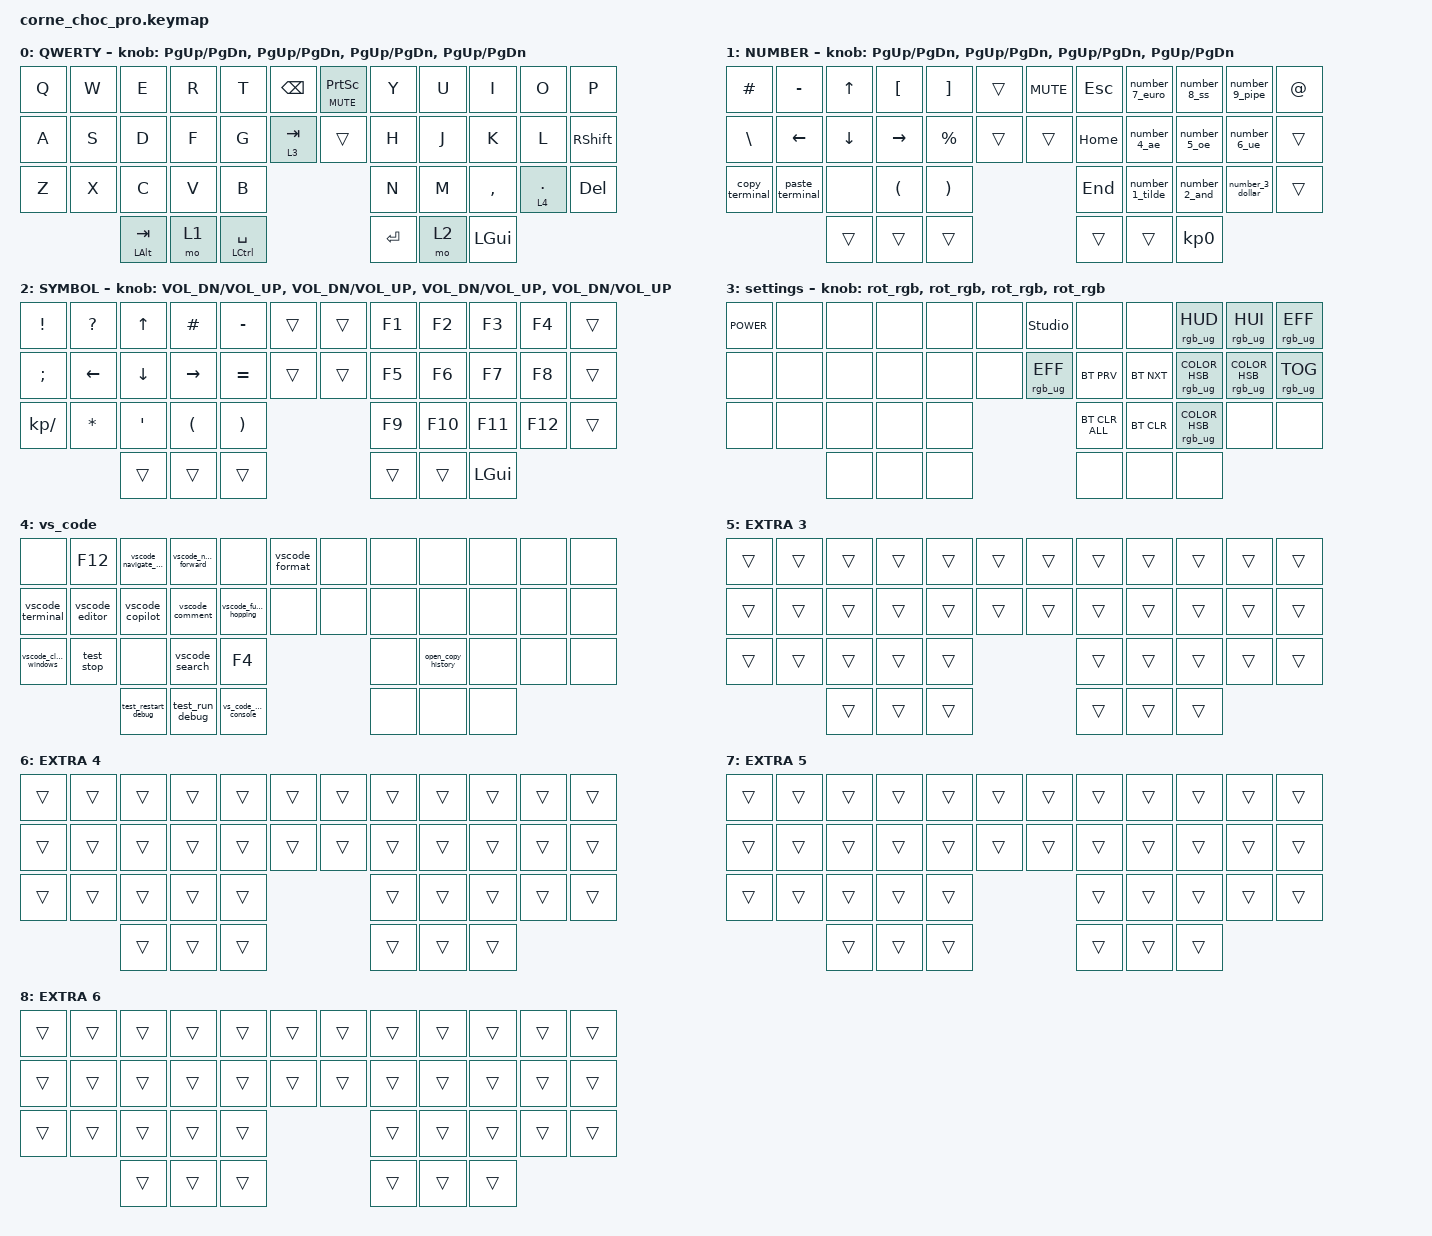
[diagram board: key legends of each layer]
/*
 * Copyright (c) 2020 The ZMK Contributors
 *
 * SPDX-License-Identifier: MIT
 */

#include <behaviors.dtsi>
#include <dt-bindings/zmk/bt.h>
#include <dt-bindings/zmk/keys.h>
#include <dt-bindings/zmk/rgb.h>

/ {
    chosen { zmk,physical-layout = &five_col_layout; };
};

/ {
    behaviors {
        number_1_tilde: number_1_tilde {
            compatible = "zmk,behavior-mod-morph";
            label = "NUMBER_1_TILDE";
            bindings = <&kp KP_NUMBER_1>, <&kp TILDE>;

            #binding-cells = <0>;
            mods = <(MOD_LALT)>;
        };

        number_2_and: number_2_and {
            compatible = "zmk,behavior-mod-morph";
            label = "NUMBER_2_AND";
            bindings = <&kp KP_NUMBER_2>, <&kp AMPS>;

            #binding-cells = <0>;
            mods = <(MOD_LALT)>;
        };

        number_3_dollar: number_3_dollar {
            compatible = "zmk,behavior-mod-morph";
            label = "NUMBER_3_DOLLAR";
            bindings = <&kp KP_NUMBER_3>, <&kp DOLLAR>;

            #binding-cells = <0>;
            mods = <(MOD_LALT)>;
        };

        number_5_oe: number_5_oe {
            compatible = "zmk,behavior-mod-morph";
            label = "NUMBER_5_OE";
            bindings = <&kp KP_NUMBER_5>, <&oe>;

            #binding-cells = <0>;
            mods = <(MOD_LALT)>;
        };

        number_4_ae: number_4_ae {
            compatible = "zmk,behavior-mod-morph";
            label = "NUMBER_4_AE";
            bindings = <&kp KP_NUMBER_4>, <&ae>;

            #binding-cells = <0>;
            mods = <(MOD_LALT)>;
        };

        number_6_ue: number_6_ue {
            compatible = "zmk,behavior-mod-morph";
            label = "NUMBER_6_UE";
            bindings = <&kp KP_NUMBER_6>, <&ue>;

            #binding-cells = <0>;
            mods = <(MOD_LALT)>;
        };

        number_7_euro: number_7_euro {
            compatible = "zmk,behavior-mod-morph";
            label = "NUMBER_7_EURO";
            bindings = <&kp KP_NUMBER_7>, <&euro_sign>;

            #binding-cells = <0>;
            mods = <(MOD_LALT)>;
        };

        number_8_ss: number_8_ss {
            compatible = "zmk,behavior-mod-morph";
            label = "NUMBER_8_SS";
            bindings = <&kp KP_NUMBER_8>, <&ss>;

            #binding-cells = <0>;
            mods = <(MOD_LALT)>;
        };

        number_9_pipe: number_9_pipe {
            compatible = "zmk,behavior-mod-morph";
            label = "NUMBER_9_PIPE";
            bindings = <&kp KP_NUMBER_9>, <&kp PIPE>;

            #binding-cells = <0>;
            mods = <(MOD_LALT)>;
        };

        rot_rgb: rot_rgb {
            compatible = "zmk,behavior-sensor-rotate";
            label = "ROT_RGB";
            #sensor-binding-cells = <0>;
            bindings = <&rgb_ug RGB_BRI>, <&rgb_ug RGB_BRD>;
        };
    };

    macros {
        ue: ue {
            compatible = "zmk,behavior-macro";
            #binding-cells = <0>;
            bindings =
                <&macro_press>,
                <&kp RIGHT_ALT>,
                <&macro_tap>,
                <&kp Y>,
                <&macro_release>,
                <&kp RIGHT_ALT>;

            label = "UE";
        };

        oe: oe {
            compatible = "zmk,behavior-macro";
            #binding-cells = <0>;
            bindings =
                <&macro_press>,
                <&kp RIGHT_ALT>,
                <&macro_tap>,
                <&kp P>,
                <&macro_release>,
                <&kp RIGHT_ALT>;

            label = "OE";
        };

        ae: ae {
            compatible = "zmk,behavior-macro";
            #binding-cells = <0>;
            bindings =
                <&macro_press>,
                <&kp RIGHT_ALT>,
                <&macro_tap>,
                <&kp Q>,
                <&macro_release>,
                <&kp RIGHT_ALT>;

            label = "AE";
        };

        ss: ss {
            compatible = "zmk,behavior-macro";
            #binding-cells = <0>;
            bindings =
                <&macro_press>,
                <&kp RIGHT_ALT>,
                <&macro_tap>,
                <&kp S>,
                <&macro_release>,
                <&kp RIGHT_ALT>;

            label = "SS";
        };

        euro_sign: euro_sign {
            compatible = "zmk,behavior-macro";
            #binding-cells = <0>;
            bindings =
                <&macro_press>,
                <&kp RIGHT_ALT>,
                <&macro_tap>,
                <&kp N5>,
                <&macro_release>,
                <&kp RIGHT_ALT>;

            label = "EURO_SIGN";
        };

        vscode_terminal: vscode_terminal {
            compatible = "zmk,behavior-macro";
            #binding-cells = <0>;
            bindings =
                <&macro_press>,
                <&kp LEFT_CONTROL>,
                <&macro_tap>,
                <&kp GRAVE>,
                <&macro_release>,
                <&kp LEFT_CONTROL>;

            label = "VSCODE_TERMINAL";
        };

        vscode_navigate_back: vscode_navigate_back {
            compatible = "zmk,behavior-macro";
            #binding-cells = <0>;
            bindings =
                <&macro_press>,
                <&kp LEFT_CONTROL &kp LEFT_ALT>,
                <&macro_tap>,
                <&kp MINUS>,
                <&macro_release>,
                <&kp LEFT_CONTROL &kp LEFT_ALT>;

            label = "VSCODE_NAVIGATE_BACK";
        };

        vscode_comment: vscode_comment {
            compatible = "zmk,behavior-macro";
            #binding-cells = <0>;
            bindings =
                <&macro_press>,
                <&kp LEFT_CONTROL>,
                <&macro_tap>,
                <&kp SLASH>,
                <&macro_release>,
                <&kp LEFT_CONTROL>;

            label = "VSCODE_COMMENT";
        };

        vscode_editor: vscode_editor {
            compatible = "zmk,behavior-macro";
            #binding-cells = <0>;
            bindings =
                <&macro_press>,
                <&kp LEFT_CONTROL>,
                <&macro_tap>,
                <&kp NUMBER_1>,
                <&macro_release>,
                <&kp LEFT_CONTROL>;

            label = "VSCODE_EDITOR";
        };

        vscode_copilot: vscode_copilot {
            compatible = "zmk,behavior-macro";
            #binding-cells = <0>;
            bindings =
                <&macro_press>,
                <&kp LEFT_CONTROL &kp LEFT_ALT>,
                <&macro_tap>,
                <&kp I>,
                <&macro_release>,
                <&kp LEFT_CONTROL &kp LEFT_ALT>;

            label = "VSCODE_COPILOT";
        };

        vscode_function_hopping: vscode_function_hopping {
            compatible = "zmk,behavior-macro";
            #binding-cells = <0>;
            bindings =
                <&macro_press>,
                <&kp LEFT_CONTROL &kp LEFT_SHIFT>,
                <&macro_tap>,
                <&kp DOT>,
                <&macro_release>,
                <&kp LEFT_CONTROL &kp LEFT_SHIFT>;

            label = "VSCODE_FUNCTION_HOPPING";
        };

        vscode_search: vscode_search {
            compatible = "zmk,behavior-macro";
            #binding-cells = <0>;
            bindings =
                <&macro_press>,
                <&kp LEFT_CONTROL &kp LEFT_SHIFT>,
                <&macro_tap>,
                <&kp F>,
                <&macro_release>,
                <&kp LEFT_CONTROL &kp LEFT_SHIFT>;

            label = "VSCODE_SEARCH";
        };

        vscode_navigate_forward: vscode_navigate_forward {
            compatible = "zmk,behavior-macro";
            #binding-cells = <0>;
            bindings =
                <&macro_press>,
                <&kp LEFT_CONTROL &kp LEFT_SHIFT>,
                <&macro_tap>,
                <&kp MINUS>,
                <&macro_release>,
                <&kp LEFT_CONTROL &kp LEFT_SHIFT>;

            label = "VSCODE_NAVIGATE_FORWARD";
        };

        vscode_format: vscode_format {
            compatible = "zmk,behavior-macro";
            #binding-cells = <0>;
            bindings =
                <&macro_press>,
                <&kp LEFT_SHIFT &kp LEFT_ALT>,
                <&macro_tap>,
                <&kp F>,
                <&macro_release>,
                <&kp LEFT_SHIFT &kp LEFT_ALT>;

            label = "VSCODE_FORMAT";
        };

        vscode_close_windows: vscode_close_windows {
            compatible = "zmk,behavior-macro";
            #binding-cells = <0>;
            bindings =
                <&macro_press>,
                <&kp LEFT_CONTROL>,
                <&macro_tap>,
                <&kp K>,
                <&macro_release>,
                <&kp LEFT_CONTROL>,
                <&macro_press>,
                <&kp LEFT_CONTROL>,
                <&macro_tap>,
                <&kp W>,
                <&macro_release>,
                <&kp LEFT_CONTROL>;

            label = "VSCODE_CLOSE_WINDOWS";
        };

        copy_terminal: copy_terminal {
            compatible = "zmk,behavior-macro";
            #binding-cells = <0>;
            bindings =
                <&macro_press>,
                <&kp LEFT_CONTROL &kp RIGHT_SHIFT>,
                <&macro_tap>,
                <&kp C>,
                <&macro_release>,
                <&kp LEFT_CONTROL &kp RIGHT_SHIFT>;

            label = "COPY_TERMINAL";
        };

        paste_terminal: paste_terminal {
            compatible = "zmk,behavior-macro";
            #binding-cells = <0>;
            bindings =
                <&macro_press>,
                <&kp LEFT_CONTROL &kp RIGHT_SHIFT>,
                <&macro_tap>,
                <&kp V>,
                <&macro_release>,
                <&kp LEFT_CONTROL &kp RIGHT_SHIFT>;

            label = "PASTE_TERMINAL";
        };

        open_copy_history: open_copy_history {
            compatible = "zmk,behavior-macro";
            #binding-cells = <0>;
            bindings =
                <&macro_press>,
                <&kp LEFT_CONTROL &kp LEFT_GUI>,
                <&macro_tap>,
                <&kp Y>,
                <&macro_release>,
                <&kp LEFT_CONTROL &kp LEFT_GUI>;

            label = "OPEN_COPY_HISTORY";
        };

        test_run_debug: test_run_debug {
            compatible = "zmk,behavior-macro";
            #binding-cells = <0>;
            bindings =
                <&macro_press>,
                <&kp LEFT_CONTROL>,
                <&macro_tap>,
                <&kp SEMICOLON>,
                <&macro_release>,
                <&kp LEFT_CONTROL>,
                <&macro_press>,
                <&kp LEFT_CONTROL>,
                <&macro_tap>,
                <&kp C>,
                <&macro_release>,
                <&kp LEFT_CONTROL>;

            label = "TEST_RUN_DEBUG";
        };

        test_restart_debug: test_restart_debug {
            compatible = "zmk,behavior-macro";
            #binding-cells = <0>;
            bindings =
                <&macro_press>,
                <&kp LEFT_CONTROL &kp LEFT_SHIFT>,
                <&macro_tap>,
                <&kp F5>,
                <&macro_release>,
                <&kp LEFT_CONTROL &kp LEFT_SHIFT>;

            label = "TEST_RESTART_DEBUG";
        };

        test_stop: test_stop {
            compatible = "zmk,behavior-macro";
            #binding-cells = <0>;
            bindings =
                <&macro_press>,
                <&kp LEFT_SHIFT>,
                <&macro_tap>,
                <&kp F5>,
                <&macro_release>,
                <&kp LEFT_SHIFT>;

            label = "TEST_STOP";
        };

        vs_code_debug_console: vs_code_debug_console {
            compatible = "zmk,behavior-macro";
            #binding-cells = <0>;
            bindings =
                <&macro_press>,
                <&kp LEFT_CONTROL &kp LEFT_SHIFT>,
                <&macro_tap>,
                <&kp Y>,
                <&macro_release>,
                <&kp LEFT_CONTROL &kp LEFT_SHIFT>;

            label = "VS_CODE_DEBUG_CONSOLE";
        };
    };

    keymap {
        compatible = "zmk,keymap";

        default_layer {
            display-name = "QWERTY";

            // ------------------------------------------------------------------------------
            // |  Q  |  W  |  E  |  R  |  T  |  MUTE |  PP   |  Y  |  U   |  I  |  O  |  P  |
            // |  A  |  S  |  D  |  F  |  G  |  LALT |  RALT |  H  |  J   |  K  |  L  |  ;  |
            // |  Z  |  X  |  C  |  V  |  B  |               |  N  |  M   |  ,  |  .  |  /  |
            //                    | GUI | LWR | SPC |               | ENT | RSE  | ALT |

            bindings = <
  &kp Q  &kp W  &kp E             &kp R  &kp T                   &kp BACKSPACE  &mt K_MUTE PRINTSCREEN  &kp Y      &kp U  &kp I         &kp O      &kp P
  &kp A  &kp S  &kp D             &kp F  &kp G                   &lt 3 TAB      &trans                  &kp H      &kp J  &kp K         &kp L      &kp RIGHT_SHIFT
  &kp Z  &kp X  &kp C             &kp V  &kp B                                                          &kp N      &kp M  &kp COMMA     &lt 4 DOT  &kp DELETE
                &mt LEFT_ALT TAB  &mo 1  &mt LEFT_CONTROL SPACE                                         &kp ENTER  &mo 2  &kp LEFT_GUI
            >;

            sensor-bindings = <&inc_dec_kp PG_UP PG_DN &inc_dec_kp PG_UP PG_DN &inc_dec_kp PG_UP PG_DN &inc_dec_kp PG_UP PG_DN>;
        };

        lower_layer {
            display-name = "NUMBER";

            // --------------------------------------------------------------------------------
            // |  1  |  2  |  3  |  4  |  5    |  LCTRL | RCTRL |  6  |  7  |  8  |  9  |  0  |
            // | BT1 | BT2 | BT3 | BT4 | BT5   |  LALT  | RALT  | LFT | DWN |  UP | RGT |     |
            // | BTCR| RGB | RST | BOOT| Unlock|        |       |     |     |     |     |     |
            //                    | GUI |     | SPC   |        | ENT   |     | ALT |

            bindings = <
  &kp HASH        &kp MINUS        &kp UP_ARROW    &kp LEFT_BRACKET      &kp RIGHT_BRACKET      &trans  &kp K_MUTE  &kp ESCAPE  &number_7_euro   &number_8_ss     &number_9_pipe    &kp AT
  &kp BACKSLASH   &kp LEFT         &kp DOWN_ARROW  &kp RIGHT             &kp PERCENT            &trans  &trans      &kp HOME    &number_4_ae     &number_5_oe     &number_6_ue      &trans
  &copy_terminal  &paste_terminal  &none           &kp LEFT_PARENTHESIS  &kp RIGHT_PARENTHESIS                      &kp END     &number_1_tilde  &number_2_and    &number_3_dollar  &trans
                                   &trans          &trans                &trans                                     &trans      &trans           &kp KP_NUMBER_0
            >;

            sensor-bindings = <&inc_dec_kp PG_UP PG_DN &inc_dec_kp PG_UP PG_DN &inc_dec_kp PG_UP PG_DN &inc_dec_kp PG_UP PG_DN>;
        };

        raise_layer {
            display-name = "SYMBOL";

            // -----------------------------------------------------------------------------
            // |  !  |  @  |  #  |  $  |  %  | LCTRL | RCTRL |  ^  |  &  |  *  |  (  |  )  |
            // |     |     |     |     |     |  LALT | RALT  |  -  |  =  |  [  |  ]  |  \  |
            // |     |     |     |     |     |               |  _  |  +  |  {  |  }  | "|" |
            //                    | GUI |     | SPC |               | ENT |     | ALT |

            bindings = <
  &kp EXCLAMATION  &kp QUESTION    &kp UP_ARROW      &kp POUND             &kp MINUS              &trans  &trans  &kp F1  &kp F2   &kp F3        &kp F4   &trans
  &kp SEMICOLON    &kp LEFT_ARROW  &kp DOWN          &kp RIGHT             &kp EQUAL              &trans  &trans  &kp F5  &kp F6   &kp F7        &kp F8   &trans
  &kp KP_DIVIDE    &kp ASTRK       &kp SINGLE_QUOTE  &kp LEFT_PARENTHESIS  &kp RIGHT_PARENTHESIS                  &kp F9  &kp F10  &kp F11       &kp F12  &trans
                                   &trans            &trans                &trans                                 &trans  &trans   &kp LEFT_GUI
            >;

            sensor-bindings = <&inc_dec_kp C_VOL_DN C_VOL_UP &inc_dec_kp C_VOL_DN C_VOL_UP &inc_dec_kp C_VOL_DN C_VOL_UP &inc_dec_kp C_VOL_DN C_VOL_UP>;
        };

        settings {
            display-name = "settings";
            bindings = <
  &kp C_POWER  &none  &none  &none  &none  &none  &studio_unlock   &none           &none       &rgb_ug RGB_HUD                    &rgb_ug RGB_HUI                  &rgb_ug RGB_EFF
  &none        &none  &none  &none  &none  &none  &rgb_ug RGB_EFF  &bt BT_PRV      &bt BT_NXT  &rgb_ug RGB_COLOR_HSB(57,90,62)    &rgb_ug RGB_COLOR_HSB(0,100,51)  &rgb_ug RGB_TOG
  &none        &none  &none  &none  &none                          &bt BT_CLR_ALL  &bt BT_CLR  &rgb_ug RGB_COLOR_HSB(269,100,46)  &none                            &none
                      &none  &none  &none                          &none           &none       &none
            >;

            sensor-bindings = <&rot_rgb &rot_rgb &rot_rgb &rot_rgb>;
        };

        vs_code {
            display-name = "vs_code";
            bindings = <
  &none                  &kp F12         &vscode_navigate_back  &vscode_navigate_forward  &none                     &vscode_format  &none  &none  &none               &none  &none  &none
  &vscode_terminal       &vscode_editor  &vscode_copilot        &vscode_comment           &vscode_function_hopping  &none           &none  &none  &none               &none  &none  &none
  &vscode_close_windows  &test_stop      &none                  &vscode_search            &kp F4                                           &none  &open_copy_history  &none  &none  &none
                                         &test_restart_debug    &test_run_debug           &vs_code_debug_console                           &none  &none               &none
            >;
        };

        extra_layer_3 {
            display-name = "EXTRA 3";
            bindings = <
  &trans  &trans  &trans  &trans  &trans  &trans  &trans  &trans  &trans  &trans  &trans  &trans
  &trans  &trans  &trans  &trans  &trans  &trans  &trans  &trans  &trans  &trans  &trans  &trans
  &trans  &trans  &trans  &trans  &trans                  &trans  &trans  &trans  &trans  &trans
                  &trans  &trans  &trans                  &trans  &trans  &trans
            >;
        };

        extra_layer_4 {
            display-name = "EXTRA 4";
            bindings = <
  &trans  &trans  &trans  &trans  &trans  &trans  &trans  &trans  &trans  &trans  &trans  &trans
  &trans  &trans  &trans  &trans  &trans  &trans  &trans  &trans  &trans  &trans  &trans  &trans
  &trans  &trans  &trans  &trans  &trans                  &trans  &trans  &trans  &trans  &trans
                  &trans  &trans  &trans                  &trans  &trans  &trans
            >;
        };

        extra_layer_5 {
            display-name = "EXTRA 5";
            bindings = <
  &trans  &trans  &trans  &trans  &trans  &trans  &trans  &trans  &trans  &trans  &trans  &trans
  &trans  &trans  &trans  &trans  &trans  &trans  &trans  &trans  &trans  &trans  &trans  &trans
  &trans  &trans  &trans  &trans  &trans                  &trans  &trans  &trans  &trans  &trans
                  &trans  &trans  &trans                  &trans  &trans  &trans
            >;
        };

        extra_layer_6 {
            display-name = "EXTRA 6";
            bindings = <
  &trans  &trans  &trans  &trans  &trans  &trans  &trans  &trans  &trans  &trans  &trans  &trans
  &trans  &trans  &trans  &trans  &trans  &trans  &trans  &trans  &trans  &trans  &trans  &trans
  &trans  &trans  &trans  &trans  &trans                  &trans  &trans  &trans  &trans  &trans
                  &trans  &trans  &trans                  &trans  &trans  &trans
            >;
        };
    };
};
